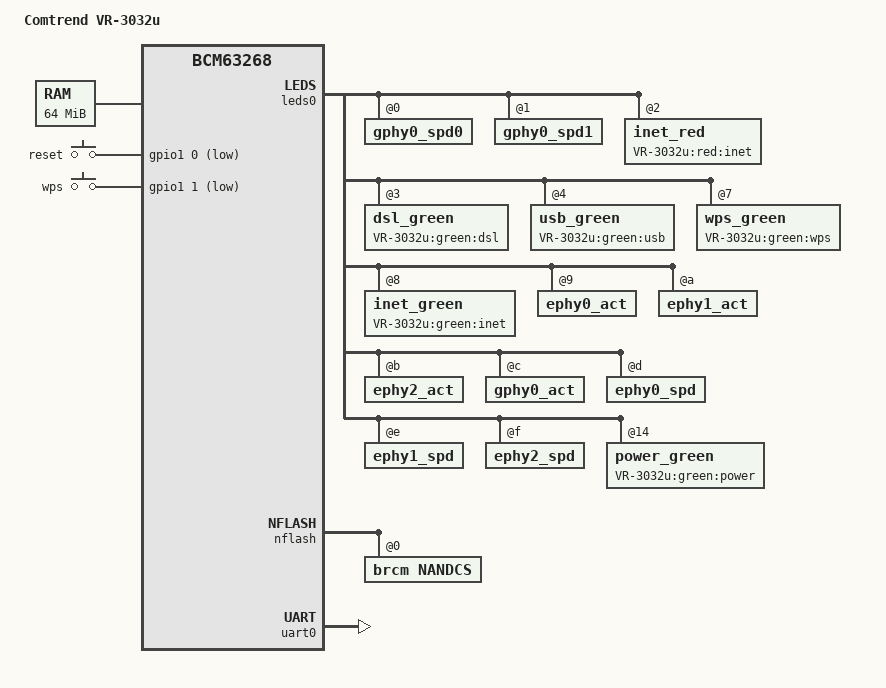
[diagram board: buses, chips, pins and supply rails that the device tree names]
/dts-v1/;

#include "bcm63268.dtsi"

#include <dt-bindings/input/input.h>

/ {
	compatible = "comtrend,vr-3032u", "brcm,bcm63268";
	model = "Comtrend VR-3032u";

	memory@0 {
		device_type = "memory";
		reg = <0x00000000 0x04000000>;
	};

	chosen {
		bootargs = "console=ttyS0,115200";
		stdout-path = &uart0;
	};

	gpio-keys-polled {
		compatible = "gpio-keys-polled";
		#address-cells = <1>;
		#size-cells = <0>;
		poll-interval = <20>;
		debounce-interval = <60>;

		reset {
			label = "reset";
			gpios = <&gpio1 0 1>;
			linux,code = <KEY_RESTART>;
		};
		wps {
			label = "wps";
			gpios = <&gpio1 1 1>;
			linux,code = <KEY_WPS_BUTTON>;
		};
	};
};

&leds0 {
	status = "ok";
	brcm,serial-leds;
	brcm,serial-dat-low;
	brcm,serial-shift-inv;

	gphy0_spd0@0 {
		reg = <0>;
		brcm,hardware-controlled;
		brcm,link-signal-sources = <0>;
	};
	gphy0_spd1@1 {
		reg = <1>;
		brcm,hardware-controlled;
		brcm,link-signal-sources = <1>;
	};
	inet_red@2 {
		reg = <2>;
		active-low;
		label = "VR-3032u:red:inet";
	};
	dsl_green@3 {
		reg = <3>;
		active-low;
		label = "VR-3032u:green:dsl";
	};
	usb_green@4 {
		reg = <4>;
		active-low;
		label = "VR-3032u:green:usb";
	};
	wps_green@7 {
		reg = <7>;
		active-low;
		label = "VR-3032u:green:wps";
	};
	inet_green@8 {
		reg = <8>;
		active-low;
		label = "VR-3032u:green:inet";
	};
	ephy0_act@9 {
		reg = <9>;
		brcm,hardware-controlled;
	};
	ephy1_act@10 {
		reg = <10>;
		brcm,hardware-controlled;
	};
	ephy2_act@11 {
		reg = <11>;
		brcm,hardware-controlled;
	};
	gphy0_act@12 {
		reg = <12>;
		brcm,hardware-controlled;
	};
	ephy0_spd@13 {
		reg = <13>;
		brcm,hardware-controlled;
	};
	ephy1_spd@14 {
		reg = <14>;
		brcm,hardware-controlled;
	};
	ephy2_spd@15 {
		reg = <15>;
		brcm,hardware-controlled;
	};
	power_green@20 {
		reg = <20>;
		active-low;
		label = "VR-3032u:green:power";
		default-state = "on";
	};
};

&nflash {
	status = "ok";

	nandcs@0 {
		compatible = "brcm,nandcs";
		#size-cells = <1>;
		#address-cells = <1>;
		reg = <0>;
		nand-ecc-step-size = <512>;
		nand-ecc-strength = <15>;
		nand-on-flash-bbt;
		brcm,nand-oob-sector-size = <64>;

		cfe@0 {
			label = "cfe";
			reg = <0x0000000 0x0020000>;
			read-only;
		};
		linux@20000 {
			label = "linux";
			reg = <0x0020000 0x7ae0000>;
			read-only;
		};
		img1@20000 {
			label = "img1";
			reg = <0x0020000 0x3d60000>;
			read-only;
		};
		img2@3d80000 {
			label = "img2";
			reg = <0x3d80000 0x3d80000>;
			read-only;
		};
		data@7b00000 {
			label = "data";
			reg = <0x7b00000 0x0400000>;
			read-only;
		};
	};
};

&uart0 {
	status = "ok";
};
